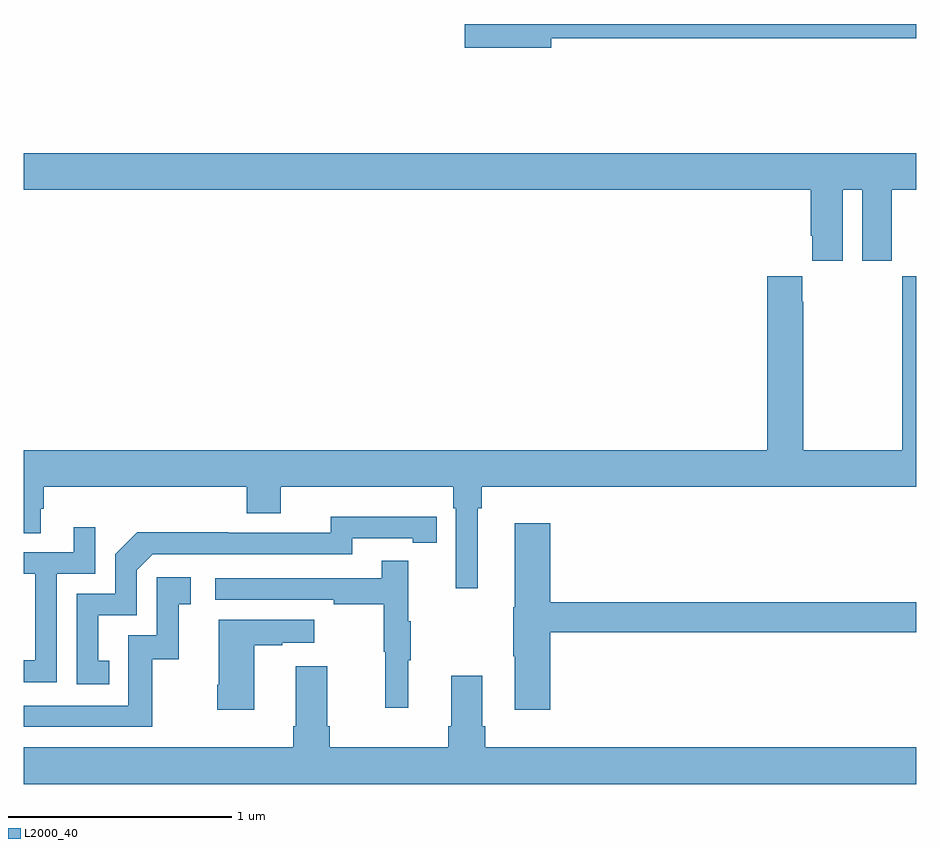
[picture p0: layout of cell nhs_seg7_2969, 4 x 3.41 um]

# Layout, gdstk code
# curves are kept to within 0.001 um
import gdstk
lib = gdstk.Library(unit=1e-6, precision=1e-09)
def P(c, l, *ps):  # polygons
    for p in ps: c.add(gdstk.Polygon(p, *l))
L2000_40 = (2000, 40)

nhs_seg7_2969 = lib.new_cell('nhs_seg7_2969')
P(nhs_seg7_2969, L2000_40, [(303.364,1027.936),(305,1027.936),(305,1028),(302.976,1028),(302.976,1027.894),(303.364,1027.894)],
  [(304.672,1027.256),(304.76,1027.256),(304.76,1026.939),(304.891,1026.939),(304.891,1027.256),(305,1027.256),(305,1027.42),(301,1027.42),(301,1027.256),(304.529,1027.256),(304.529,1027.051),(304.535,1027.051),(304.535,1026.939),(304.672,1026.939)],
  [(303.034,1025.828),(303.053,1025.828),(303.053,1025.924),(305,1025.924),(305,1026.868),(304.939,1026.868),(304.939,1026.088),(304.494,1026.088),(304.494,1026.755),(304.489,1026.755),(304.489,1026.868),(304.334,1026.868),(304.334,1026.088),(301,1026.088),(301,1025.716),(301.075,1025.716),(301.075,1025.826),(301.088,1025.826),(301.088,1025.924),(302,1025.924),(302,1025.807),(302.152,1025.807),(302.152,1025.924),(302.924,1025.924),(302.924,1025.828),(302.937,1025.828),(302.937,1025.469),(303.034,1025.469)],
  [(301.382,1025.145),(301.333,1025.145),(301.333,1025.349),(301.506,1025.349),(301.506,1025.55),(301.578,1025.622),(302.472,1025.622),(302.472,1025.694),(302.744,1025.694),(302.744,1025.674),(302.852,1025.674),(302.852,1025.79),(302.376,1025.791),(302.376,1025.718),(301.916,1025.718),(301.916,1025.72),(301.508,1025.72),(301.41,1025.622),(301.41,1025.445),(301.236,1025.445),(301.236,1025.04),(301.382,1025.04)],
  [(303.359,1025.272),(305,1025.272),(305,1025.408),(303.359,1025.408),(303.359,1025.761),(303.2,1025.761),(303.2,1025.385),(303.193,1025.385),(303.193,1025.164),(303.2,1025.164),(303.2,1024.926),(303.359,1024.926)],
  [(301.146,1025.535),(301.32,1025.535),(301.32,1025.743),(301.223,1025.743),(301.223,1025.631),(301,1025.631),(301,1025.535),(301.05,1025.535),(301.05,1025.146),(301,1025.146),(301,1025.049),(301.146,1025.049)],
  [(302.723,1025.147),(302.734,1025.147),(302.734,1025.321),(302.723,1025.321),(302.723,1025.593),(302.605,1025.593),(302.605,1025.514),(301.857,1025.514),(301.857,1025.418),(302.389,1025.418),(302.389,1025.398),(302.613,1025.398),(302.613,1025.184),(302.62,1025.184),(302.62,1024.935),(302.723,1024.935)],
  [(301.576,1025.151),(301.694,1025.151),(301.694,1025.397),(301.747,1025.397),(301.747,1025.518),(301.596,1025.518),(301.596,1025.259),(301.467,1025.259),(301.467,1024.944),(301,1024.944),(301,1024.848),(301.576,1024.848)],
  [(302.032,1025.215),(302.159,1025.215),(302.159,1025.225),(302.302,1025.225),(302.302,1025.329),(301.874,1025.329),(301.874,1025.038),(301.867,1025.038),(301.867,1024.926),(302.032,1024.926)],
  [(305,1024.756),(303.068,1024.756),(303.068,1024.852),(303.055,1024.852),(303.055,1025.077),(302.915,1025.077),(302.915,1024.852),(302.903,1024.852),(302.903,1024.756),(302.372,1024.756),(302.372,1024.852),(302.359,1024.852),(302.359,1025.119),(302.219,1025.119),(302.219,1024.852),(302.207,1024.852),(302.207,1024.756),(301,1024.756),(301,1024.592),(305,1024.592)])

lib.write_gds('nhs_seg7_2969.gds')
